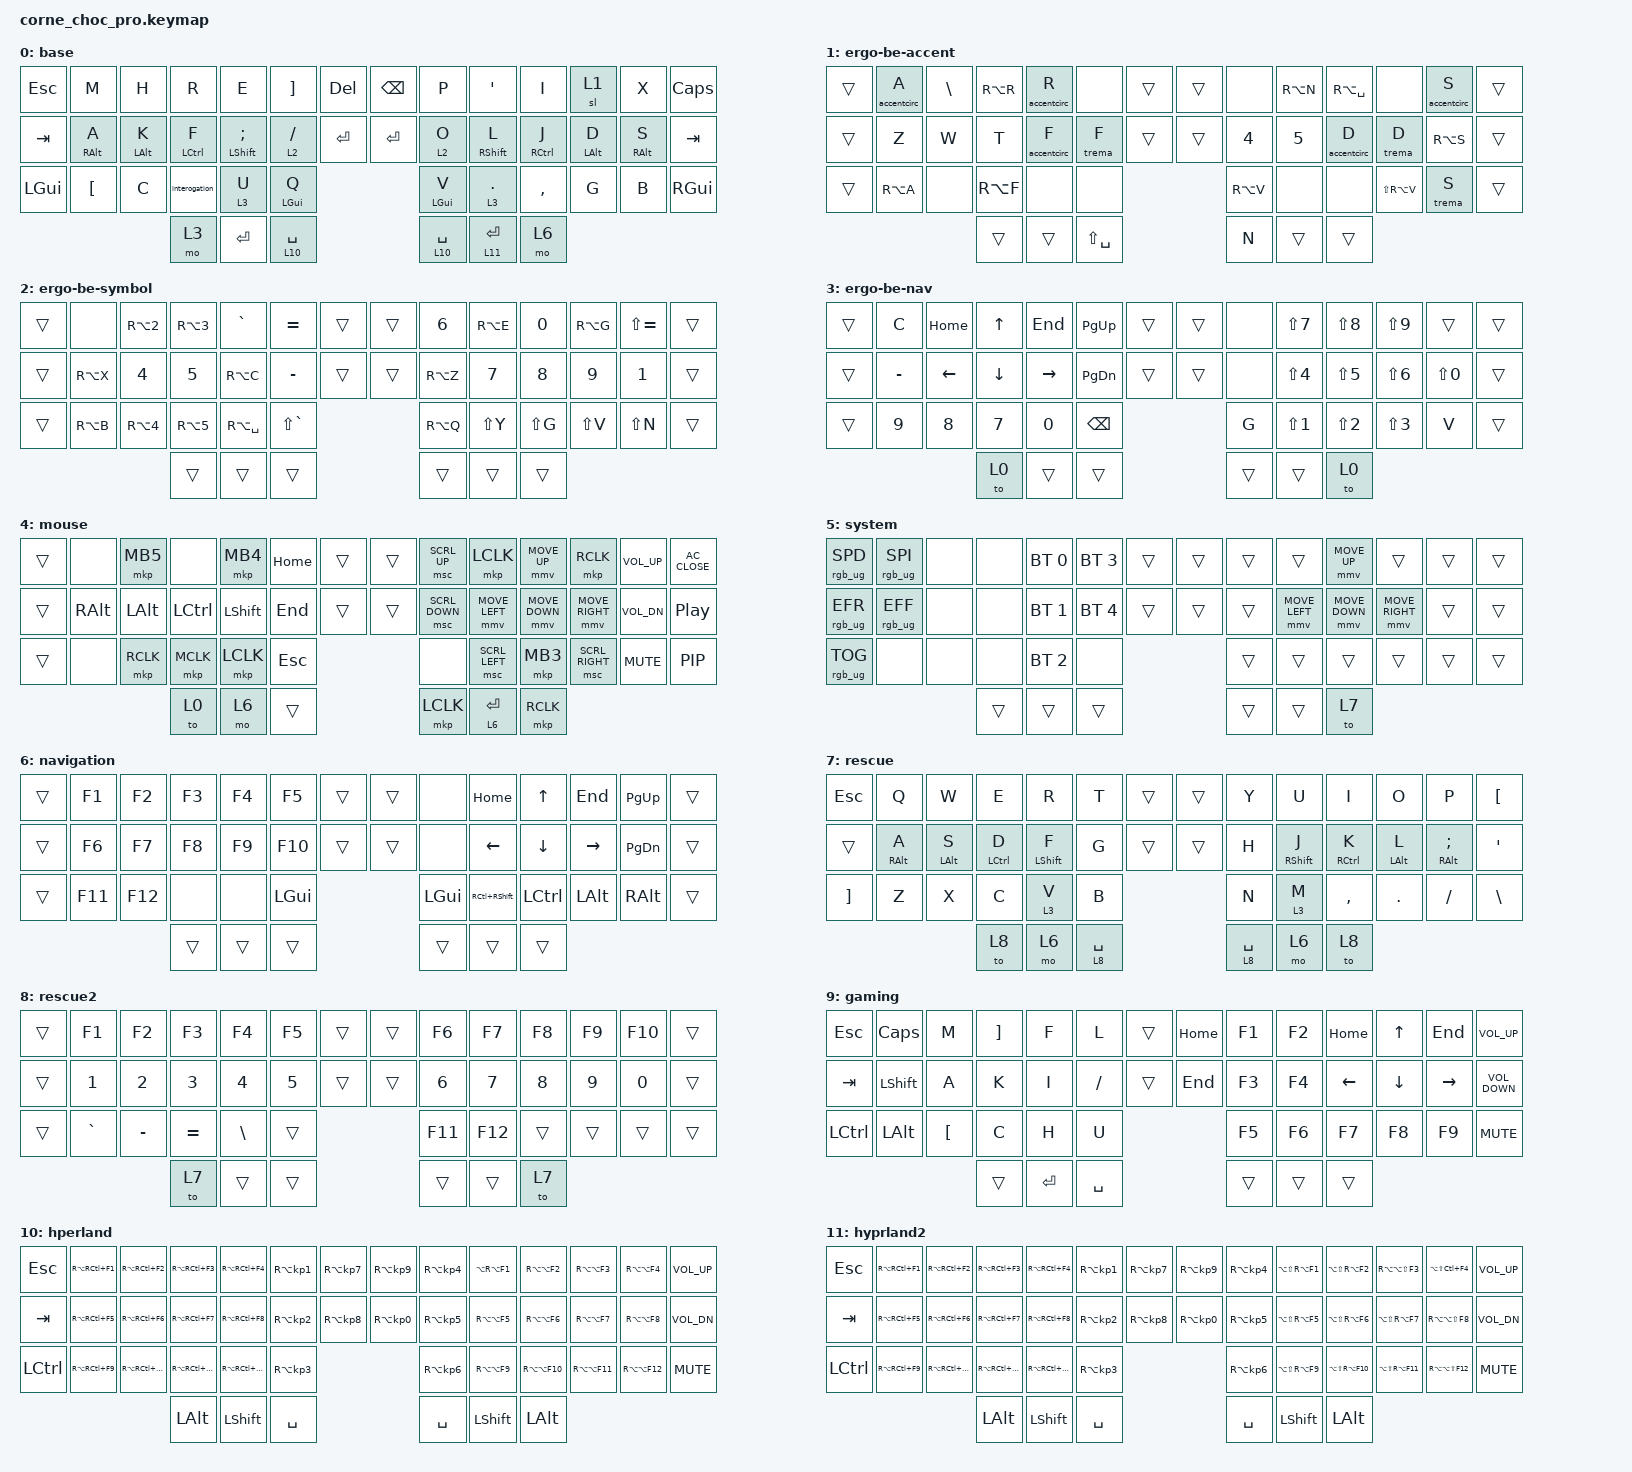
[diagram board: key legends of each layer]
/*
 * Copyright (c) 2020 The ZMK Contributors
 *
 * SPDX-License-Identifier: MIT
 */

#include <behaviors.dtsi>
#include <dt-bindings/zmk/bt.h>
#include <dt-bindings/zmk/keys.h>
#include <dt-bindings/zmk/pointing.h>
#include <dt-bindings/zmk/rgb.h>

&mt { flavor = "tap-preferred"; };

/ {
    chosen { zmk,physical-layout = &default_layout; };
};

/ {
    combos {
        compatible = "zmk,combos";

        goto-system {
            bindings = <&to 5>;
            key-positions = <30 28 29>;
        };

        goto-rescue {
            bindings = <&to 7>;
            key-positions = <16 17 18>;
        };

        bt-clear {
            bindings = <&bt BT_CLR>;
            key-positions = <41 40>;
            layers = <5>;
        };

        reset {
            bindings = <&sys_reset>;
            key-positions = <2 3 4>;
            layers = <5>;
        };

        bt-clear-all {
            bindings = <&bt BT_CLR_ALL>;
            key-positions = <41 40 42>;
            layers = <5>;
        };

        goto-base {
            bindings = <&to 0>;
            key-positions = <23 24 25>;
        };

        goto-nav {
            bindings = <&to 3>;
            key-positions = <35 36 37>;
        };

        goto-mouse {
            bindings = <&to 4>;
            key-positions = <11 10 9>;
        };

        gaming {
            bindings = <&to 9>;
            key-positions = <30 31 32>;
        };

        SuperKey {
            bindings = <&kp LS(LA(LC(LG(F12))))>;
            key-positions = <43 44 45>;
        };
    };

    macros {
        accentcirc: accentcirc {
            compatible = "zmk,behavior-macro-one-param";
            #binding-cells = <1>;
            bindings = <&kp Y &macro_param_1to1 &kp MACRO_PLACEHOLDER>;
            label = "ACCENTCIRC";
        };

        trema: trema {
            compatible = "zmk,behavior-macro-one-param";
            #binding-cells = <1>;
            bindings = <&kp RA(D) &macro_param_1to1 &kp MACRO_PLACEHOLDER>;
            label = "TREMA";
        };
    };

    behaviors {
        interogation: interogation {
            compatible = "zmk,behavior-mod-morph";
            label = "INTEROGATION";
            bindings = <&kp NUMBER_8>, <&kp LS(N)>;

            #binding-cells = <0>;
            mods = <(MOD_LSFT|MOD_RSFT)>;
        };

        mtlayer: mtlayer {
            compatible = "zmk,behavior-hold-tap";
            label = "MTLAYER";
            bindings = <&mo>, <&to>;

            #binding-cells = <2>;
            flavor = "tap-preferred";
            tapping-term-ms = <200>;
        };
    };

    keymap {
        compatible = "zmk,keymap";

        ergo-be-base {
            display-name = "base";
            bindings = <
&kp ESCAPE    &kp M            &kp H           &kp R          &kp E                &kp RBKT        &kp DELETE  &kp BACKSPACE  &kp P           &kp APOS           &kp I        &sl 1           &kp X            &kp CAPS
&kp TAB       &mt RIGHT_ALT A  &mt LEFT_ALT K  &mt LCTRL F    &mt LEFT_SHIFT SEMI  &lt 2 FSLH      &kp ENTER   &kp ENTER      &lt 2 O         &mt RIGHT_SHIFT L  &mt RCTRL J  &mt LEFT_ALT D  &mt RIGHT_ALT S  &kp TAB
&kp LEFT_GUI  &kp LBKT         &kp C           &interogation  &lt 3 U              &mt LEFT_GUI Q                             &mt LEFT_GUI V  &lt 3 DOT          &kp COMMA    &kp G           &kp B            &kp RIGHT_GUI
                                               &mo 3          &kp ENTER            &lt 10 SPACE                               &lt 10 SPACE    &lt 11 ENTER       &mo 6
            >;
        };

        ergo-be-accent {
            bindings = <
&trans  &accentcirc A  &kp BSLH  &kp RA(R)  &accentcirc R  &none          &trans  &trans  &none      &kp RA(N)  &kp RA(SPACE)  &none          &accentcirc S  &trans
&trans  &kp Z          &kp W     &kp T      &accentcirc F  &trema F       &trans  &trans  &kp N4     &kp N5     &accentcirc D  &trema D       &kp RA(S)      &trans
&trans  &kp RA(A)      &none     &kp RA(F)  &none          &none                          &kp RA(V)  &none      &none          &kp LS(RA(V))  &trema S       &trans
                                 &trans     &trans         &kp LS(SPACE)                  &kp N      &trans     &trans
            >;
        };

        ergo-be-symbol {
            bindings = <
&trans  &none      &kp RA(NUMBER_2)  &kp RA(NUMBER_3)  &kp GRAVE      &kp EQUAL      &trans  &trans  &kp NUMBER_6  &kp RA(E)     &kp NUMBER_0  &kp RA(G)     &kp LS(EQUAL)  &trans
&trans  &kp RA(X)  &kp NUMBER_4      &kp NUMBER_5      &kp RA(C)      &kp MINUS      &trans  &trans  &kp RA(Z)     &kp NUMBER_7  &kp NUMBER_8  &kp NUMBER_9  &kp NUMBER_1   &trans
&trans  &kp RA(B)  &kp RA(NUMBER_4)  &kp RA(NUMBER_5)  &kp RA(SPACE)  &kp LS(GRAVE)                  &kp RA(Q)     &kp LS(Y)     &kp LS(G)     &kp LS(V)     &kp LS(N)      &trans
                                     &trans            &trans         &trans                         &trans        &trans        &trans
            >;
        };

        ergo-be-nav {
            bindings = <
&trans  &kp C         &kp HOME      &kp UP        &kp END       &kp PG_UP  &trans  &trans  &none   &kp LS(N7)  &kp LS(N8)  &kp LS(N9)  &trans      &trans
&trans  &kp MINUS     &kp LEFT      &kp DOWN      &kp RIGHT     &kp PG_DN  &trans  &trans  &none   &kp LS(N4)  &kp LS(N5)  &kp LS(N6)  &kp LS(N0)  &trans
&trans  &kp NUMBER_9  &kp NUMBER_8  &kp NUMBER_7  &kp NUMBER_0  &kp BSPC                   &kp G   &kp LS(N1)  &kp LS(N2)  &kp LS(N3)  &kp V       &trans
                                    &to 0         &trans        &trans                     &trans  &trans      &to 0
            >;
        };

        mouse {
            display-name = "mouse";
            bindings = <
&trans  &none          &mkp MB5      &none      &mkp MB4        &kp HOME  &trans  &trans  &msc SCRL_UP    &mkp LCLK       &mmv MOVE_UP    &mkp RCLK        &kp C_VOL_UP  &kp C_AC_CLOSE
&trans  &kp RIGHT_ALT  &kp LEFT_ALT  &kp LCTRL  &kp LEFT_SHIFT  &kp END   &trans  &trans  &msc SCRL_DOWN  &mmv MOVE_LEFT  &mmv MOVE_DOWN  &mmv MOVE_RIGHT  &kp C_VOL_DN  &kp C_PLAY_PAUSE
&trans  &none          &mkp RCLK     &mkp MCLK  &mkp LCLK       &kp ESC                   &none           &msc SCRL_LEFT  &mkp MB3        &msc SCRL_RIGHT  &kp C_MUTE    &kp C_PIP
                                     &to 0      &mo 6           &trans                    &mkp LCLK       &lt 6 ENTER     &mkp RCLK
            >;
        };

        system {
            bindings = <
&rgb_ug RGB_SPD  &rgb_ug RGB_SPI  &none  &none   &bt BT_SEL 0  &bt BT_SEL 3  &trans  &trans  &trans  &trans          &mmv MOVE_UP    &trans           &trans  &trans
&rgb_ug RGB_EFR  &rgb_ug RGB_EFF  &none  &none   &bt BT_SEL 1  &bt BT_SEL 4  &trans  &trans  &trans  &mmv MOVE_LEFT  &mmv MOVE_DOWN  &mmv MOVE_RIGHT  &trans  &trans
&rgb_ug RGB_TOG  &none            &none  &none   &bt BT_SEL 2  &none                         &trans  &trans          &trans          &trans           &trans  &trans
                                         &trans  &trans        &trans                        &trans  &trans          &to 7
            >;
        };

        navigation {
            display-name = "navigation";

            // -----------------------------------------------------------------------------------------
            // |  TAB |  !  |  @  |  #  |  $  |  %  | LCTRL | RCTRL |  ^  |  &  |  *  |  (  |  )  | BSPC |
            // | CTRL |     |     |     |     |     |  LALT | RALT  |  -  |  =  |  [  |  ]  |  \  |  `   |
            // | SHFT |     |     |     |     |     |               |  _  |  +  |  {  |  }  | "|" |  ~   |
            //                    | GUI |     | SPC |               | ENT |     | ALT |

            bindings = <
&trans  &kp F1   &kp F2   &kp F3  &kp F4  &kp F5    &trans  &trans  &none         &kp HOME             &kp UP     &kp END       &kp PG_UP      &trans
&trans  &kp F6   &kp F7   &kp F8  &kp F9  &kp F10   &trans  &trans  &none         &kp LEFT             &kp DOWN   &kp RIGHT     &kp PG_DN      &trans
&trans  &kp F11  &kp F12  &none   &none   &kp LGUI                  &kp LEFT_GUI  &kp RC(RIGHT_SHIFT)  &kp LCTRL  &kp LEFT_ALT  &kp RIGHT_ALT  &trans
                          &trans  &trans  &trans                    &trans        &trans               &trans
            >;
        };

        rescue {
            display-name = "rescue";

            // --------------------------------------------------------------------------------
            // |  TAB |  Q  |  W  |  E  |  R  |  T  |  MUTE |  PP   |  Y  |  U   |  I  |  O  |  P  | BSPC |
            // | CTRL |  A  |  S  |  D  |  F  |  G  |  LALT |  RALT |  H  |  J   |  K  |  L  |  ;  |  '   |
            // | SHFT |  Z  |  X  |  C  |  V  |  B  |               |  N  |  M   |  ,  |  .  |  /  | ESC  |
            //                    | GUI | LWR | SPC |               | ENT | RSE  | ALT |

            bindings = <
&kp ESCAPE  &kp Q       &kp W           &kp E        &kp R             &kp T        &trans  &trans  &kp Y        &kp U              &kp I        &kp O       &kp P          &kp LBKT
&trans      &mt RALT A  &mt LEFT_ALT S  &mt LCTRL D  &mt LEFT_SHIFT F  &kp G        &trans  &trans  &kp H        &mt RIGHT_SHIFT J  &mt RCTRL K  &mt LALT L  &mt RALT SEMI  &kp SINGLE_QUOTE
&kp RBKT    &kp Z       &kp X           &kp C        &lt 3 V           &kp B                        &kp N        &lt 3 M            &kp COMMA    &kp DOT     &kp FSLH       &kp BACKSLASH
                                        &to 8        &mo 6             &lt 8 SPACE                  &lt 8 SPACE  &mo 6              &to 8
            >;
        };

        rescue2 {
            bindings = <
&trans  &kp F1     &kp F2     &kp F3     &kp F4    &kp F5  &trans  &trans  &kp F6   &kp F7   &kp F8  &kp F9  &kp F10  &trans
&trans  &kp N1     &kp N2     &kp N3     &kp N4    &kp N5  &trans  &trans  &kp N6   &kp N7   &kp N8  &kp N9  &kp N0   &trans
&trans  &kp GRAVE  &kp MINUS  &kp EQUAL  &kp BSLH  &trans                  &kp F11  &kp F12  &trans  &trans  &trans   &trans
                              &to 7      &trans    &trans                  &trans   &trans   &to 7
            >;
        };

        gaming {
            bindings = <
&kp ESC    &kp CAPS   &kp M     &kp RBKT  &kp F      &kp L      &trans  &kp HOME  &kp F1  &kp F2  &kp HOME  &kp UP    &kp END    &kp C_VOLUME_UP
&kp TAB    &kp LSHFT  &kp A     &kp K     &kp I      &kp FSLH   &trans  &kp END   &kp F3  &kp F4  &kp LEFT  &kp DOWN  &kp RIGHT  &kp C_VOLUME_DOWN
&kp LCTRL  &kp LALT   &kp LBKT  &kp C     &kp H      &kp U                        &kp F5  &kp F6  &kp F7    &kp F8    &kp F9     &kp K_MUTE
                                &trans    &kp ENTER  &kp SPACE                    &trans  &trans  &trans
            >;
        };

        hperland {
            bindings = <
&kp ESCAPE  &kp RA(RC(F1))  &kp RA(RC(F2))   &kp RA(RC(F3))   &kp RA(RC(F4))   &kp RA(KP_NUMBER_1)  &kp RA(KP_NUMBER_7)  &kp RA(KP_NUMBER_9)  &kp RA(KP_NUMBER_4)  &kp LA(RA(F1))  &kp RA(LA(F2))   &kp RA(LA(F3))   &kp RA(LA(F4))   &kp C_VOLUME_UP
&kp TAB     &kp RA(RC(F5))  &kp RA(RC(F6))   &kp RA(RC(F7))   &kp RA(RC(F8))   &kp RA(KP_NUMBER_2)  &kp RA(KP_NUMBER_8)  &kp RA(KP_NUMBER_0)  &kp RA(KP_NUMBER_5)  &kp RA(LA(F5))  &kp RA(LA(F6))   &kp RA(LA(F7))   &kp RA(LA(F8))   &kp C_VOL_DN
&kp LCTRL   &kp RA(RC(F9))  &kp RA(RC(F10))  &kp RA(RC(F11))  &kp RA(RC(F12))  &kp RA(KP_NUMBER_3)                                            &kp RA(KP_NUMBER_6)  &kp RA(LA(F9))  &kp RA(LA(F10))  &kp RA(LA(F11))  &kp RA(LA(F12))  &kp K_MUTE
                                             &kp LEFT_ALT     &kp LSHFT        &kp SPACE                                                      &kp SPACE            &kp LSHFT       &kp LEFT_ALT
            >;
        };

        hyprland2 {
            bindings = <
&kp ESCAPE  &kp RA(RC(F1))  &kp RA(RC(F2))   &kp RA(RC(F3))   &kp RA(RC(F4))   &kp RA(KP_NUMBER_1)  &kp RA(KP_NUMBER_7)  &kp RA(KP_NUMBER_9)  &kp RA(KP_NUMBER_4)  &kp LA(LS(RA(F1)))  &kp LA(LS(RA(F2)))   &kp RA(LA(LS(F3)))   &kp LA(LS(LC(F4)))   &kp C_VOLUME_UP
&kp TAB     &kp RA(RC(F5))  &kp RA(RC(F6))   &kp RA(RC(F7))   &kp RA(RC(F8))   &kp RA(KP_NUMBER_2)  &kp RA(KP_NUMBER_8)  &kp RA(KP_NUMBER_0)  &kp RA(KP_NUMBER_5)  &kp LA(LS(RA(F5)))  &kp LA(LS(RA(F6)))   &kp LA(LS(RA(F7)))   &kp RA(LA(LS(F8)))   &kp C_VOL_DN
&kp LCTRL   &kp RA(RC(F9))  &kp RA(RC(F10))  &kp RA(RC(F11))  &kp RA(RC(F12))  &kp RA(KP_NUMBER_3)                                            &kp RA(KP_NUMBER_6)  &kp LA(LS(RA(F9)))  &kp LA(LS(RA(F10)))  &kp LA(LS(RA(F11)))  &kp RA(LA(LS(F12)))  &kp K_MUTE
                                             &kp LEFT_ALT     &kp LSHFT        &kp SPACE                                                      &kp SPACE            &kp LSHFT           &kp LEFT_ALT
            >;
        };
    };
};
